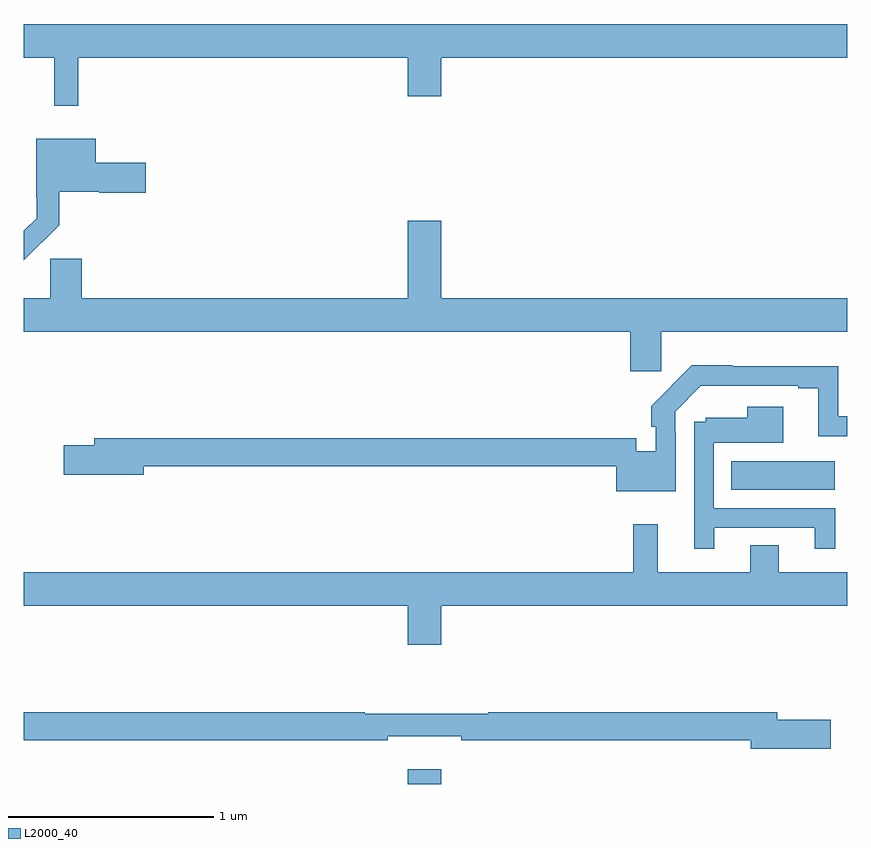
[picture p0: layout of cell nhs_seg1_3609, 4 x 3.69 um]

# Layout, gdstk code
import gdstk
lib = gdstk.Library(unit=1e-6, precision=1e-09)
def R(c, l, rs):  # rectangles x0, y0, x1, y1
    for r in rs: c.add(gdstk.rectangle(r[:2], r[2:], *l))
def P(c, l, *ps):  # polygons
    for p in ps: c.add(gdstk.Polygon(p, *l))
L2000_40 = (2000, 40)

nhs_seg1_3609 = lib.new_cell('nhs_seg1_3609')
R(nhs_seg1_3609, L2000_40, [(308.864,552.199,309.028,552.271), (310.438,553.628,310.939,553.768)])
P(nhs_seg1_3609, L2000_40, [(307.265,555.728),(308.864,555.728),(308.864,555.54),(309.028,555.54),(309.028,555.728),(311,555.728),(311,555.892),(307,555.892),(307,555.728),(307.148,555.728),(307.148,555.495),(307.265,555.495)],
  [(307.171,554.914),(307.171,555.076),(307.365,555.076),(307.365,555.071),(307.591,555.071),(307.591,555.218),(307.348,555.218),(307.348,555.334),(307.059,555.334),(307.059,555.049),(307.062,555.049),(307.062,554.949),(307,554.887),(307,554.744)],
  [(310.097,554.396),(311,554.396),(311,554.56),(309.028,554.56),(309.028,554.935),(308.864,554.935),(308.864,554.56),(307.28,554.56),(307.28,554.751),(307.129,554.751),(307.129,554.56),(307,554.56),(307,554.396),(309.947,554.396),(309.947,554.205),(310.097,554.205)],
  [(310.167,553.907),(310.164,553.907),(310.164,554.007),(310.29,554.133),(310.763,554.133),(310.763,554.121),(310.859,554.121),(310.859,553.89),(311,553.89),(311,553.986),(310.957,553.986),(310.957,554.23),(310.445,554.23),(310.445,554.233),(310.246,554.233),(310.049,554.035),(310.049,553.934),(310.071,553.934),(310.071,553.816),(309.975,553.816),(309.975,553.88),(307.343,553.88),(307.343,553.844),(307.194,553.844),(307.194,553.702),(307.582,553.702),(307.582,553.744),(309.879,553.744),(309.879,553.622),(310.167,553.622)],
  [(310.354,553.443),(310.844,553.443),(310.844,553.341),(310.942,553.341),(310.942,553.539),(310.353,553.539),(310.353,553.856),(310.69,553.856),(310.69,554.032),(310.514,554.032),(310.514,553.978),(310.314,553.978),(310.314,553.959),(310.257,553.959),(310.257,553.341),(310.354,553.341)],
  [(309.028,553.064),(311,553.064),(311,553.228),(310.669,553.228),(310.669,553.358),(310.529,553.358),(310.529,553.228),(310.079,553.228),(310.079,553.462),(309.961,553.462),(309.961,553.228),(307,553.228),(307,553.064),(308.864,553.064),(308.864,552.876),(309.028,552.876)],
  [(310.921,552.512),(310.66,552.512),(310.66,552.548),(309.256,552.548),(309.256,552.541),(308.656,552.541),(308.656,552.548),(307,552.548),(307,552.412),(308.768,552.412),(308.768,552.431),(309.124,552.431),(309.124,552.412),(310.532,552.412),(310.532,552.37),(310.921,552.37)])

lib.write_gds('nhs_seg1_3609.gds')
